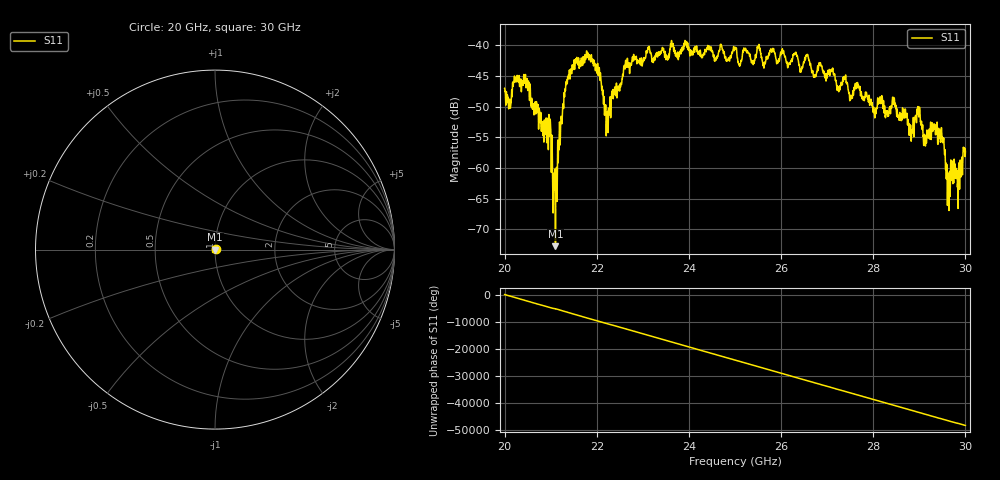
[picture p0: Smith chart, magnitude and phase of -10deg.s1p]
#  HZ  S  RI  R  50.00
! Rohde & Schwarz ZVA40 4Ports - Version 3.90 - 1145.1110k42 SN: 100403
! Date: 2023-10-03 12:34:48
! Measurement: S12
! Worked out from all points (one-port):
!   5001 points, 20 GHz to 30 GHz, reference 50 ohm
!   lowest |S11| = -72.8 dB at 21.1 GHz (marker M1), VSWR 1.00, Z = 50 + j0.00252 ohm
!   |S11| at or under -10 dB: start of sweep to end of sweep
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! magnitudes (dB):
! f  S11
! 20 GHz  -47.0
! 20.48 GHz  -46.5
! 20.95 GHz  -54.9
! 21.06 GHz  -63.6
! 21.1 GHz  -72.8
! 21.25 GHz  -51.7
! 21.42 GHz  -45.2
! 21.79 GHz  -42.0
! 22.04 GHz  -44.0
! 22.22 GHz  -52.2
! 22.5 GHz  -47.0
! 22.81 GHz  -42.4
! 23.75 GHz  -41.7
! 25 GHz  -40.5
! 25.1 GHz  -43.3
! 26.25 GHz  -42.2
! 27.39 GHz  -45.3
! 27.5 GHz  -48.1
! 27.65 GHz  -46.8
! 28.03 GHz  -51.8
! 28.45 GHz  -49.0
! 28.75 GHz  -52.3
! 28.97 GHz  -50.5
! 29.13 GHz  -56.3
! 29.47 GHz  -55.8
! 29.63 GHz  -60.8
! 29.87 GHz  -61.0
! 30 GHz  -57.3
